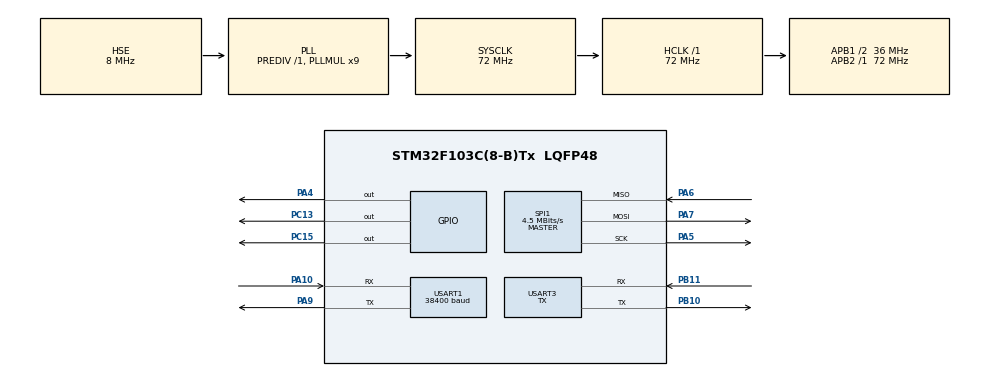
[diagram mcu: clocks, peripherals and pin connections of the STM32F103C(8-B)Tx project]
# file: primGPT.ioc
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FREERTOS.Tasks01=defaultTask,24,128,StartDefaultTask,Default,NULL,Dynamic,NULL,NULL
FREERTOS.configUSE_NEWLIB_REENTRANT=1
Mcu.Family=STM32F1
Mcu.Name=STM32F103C(8-B)Tx
Mcu.Package=LQFP48
NVIC.PriorityGroup=NVIC_PRIORITYGROUP_4
NVIC.TIM1_UP_IRQn=true\:15\:0\:false\:false\:true\:false\:false\:true\:true
NVIC.TimeBase=TIM1_UP_IRQn
NVIC.TimeBaseIP=TIM1
NVIC.USART3_IRQn=true\:5\:0\:false\:false\:true\:true\:true\:true\:true
PA10.Mode=Asynchronous
PA10.Signal=USART1_RX
PA13.Mode=Serial_Wire
PA13.Signal=SYS_JTMS-SWDIO
PA14.Mode=Serial_Wire
PA14.Signal=SYS_JTCK-SWCLK
PA4.Signal=GPIO_Output
PA5.Mode=Full_Duplex_Master
PA5.Signal=SPI1_SCK
PA6.Mode=Full_Duplex_Master
PA6.Signal=SPI1_MISO
PA7.Mode=Full_Duplex_Master
PA7.Signal=SPI1_MOSI
PA9.Mode=Asynchronous
PA9.Signal=USART1_TX
PB10.Mode=Asynchronous
PB10.Signal=USART3_TX
PB11.Mode=Asynchronous
PB11.Signal=USART3_RX
PC13-TAMPER-RTC.Signal=GPIO_Output
PC15-OSC32_OUT.Signal=GPIO_Output
PD0-OSC_IN.Mode=HSE-External-Oscillator
PD0-OSC_IN.Signal=RCC_OSC_IN
PD1-OSC_OUT.Mode=HSE-External-Oscillator
PD1-OSC_OUT.Signal=RCC_OSC_OUT
ProjectManager.HeapSize=0x200
ProjectManager.StackSize=0x400
ProjectManager.TargetToolchain=STM32CubeIDE
RCC.AHBFreq_Value=72000000
RCC.APB1CLKDivider=RCC_HCLK_DIV2
RCC.APB1Freq_Value=36000000
RCC.APB1TimFreq_Value=72000000
RCC.APB2Freq_Value=72000000
RCC.APB2TimFreq_Value=72000000
RCC.HCLKFreq_Value=72000000
RCC.PLLMUL=RCC_PLL_MUL9
RCC.PLLSourceVirtual=RCC_PLLSOURCE_HSE
RCC.SYSCLKFreq_VALUE=72000000
RCC.SYSCLKSource=RCC_SYSCLKSOURCE_PLLCLK
RCC.USBFreq_Value=72000000
SPI1.BaudRatePrescaler=SPI_BAUDRATEPRESCALER_16
SPI1.CalculateBaudRate=4.5 MBits/s
SPI1.Direction=SPI_DIRECTION_2LINES
SPI1.Mode=SPI_MODE_MASTER
SPI1.VirtualType=VM_MASTER
USART1.BaudRate=38400
USART1.VirtualMode=VM_ASYNC
USART3.Mode=MODE_TX
USART3.VirtualMode=VM_ASYNC
VP_FREERTOS_VS_CMSIS_V2.Mode=CMSIS_V2
VP_SYS_VS_tim1.Mode=TIM1
board=custom

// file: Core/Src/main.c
/* USER CODE BEGIN Header */
/**
  ******************************************************************************
  * @file           : main.c
  * @brief          : Main program body
  ******************************************************************************
  * @attention
  *
  * 16.02.25 by Kurein M.N.
  *
  * v.
  *
  ******************************************************************************
  */
/* USER CODE END Header */
#include "main.h"
#include "cmsis_os.h"

/* USER CODE BEGIN Includes */
#include "FreeRTOS.h"
#include "queue.h"
#include "task.h"
#include "stm32f1xx_hal.h"
#include "DataFile.h"
#include "uart.h"
#include "crc16.h"
#include "fram.h"

/* USER CODE END Includes */

/* USER CODE BEGIN PD */
volatile uint32_t last_rx_time;                   // Time of last received byte
extern volatile char uart1_rx_buf[UART_BUF_SIZE];
fram_t fram;
fram_cfg_t cfgFRAM;
QueueHandle_t uartQueue;

osThreadId_t LedTaskHandle, Uart1TaskHandle;

/* USER CODE END PD */

SPI_HandleTypeDef hspi1;

UART_HandleTypeDef huart1;
UART_HandleTypeDef huart3;

/* Definitions for defaultTask */
osThreadId_t defaultTaskHandle;

const osThreadAttr_t defaultTask_attributes = {
  .name = "defaultTask",
  .stack_size = 1024,
  .priority = (osPriority_t) osPriorityNormal,
};

/* USER CODE BEGIN PV */
const osThreadAttr_t LedTask_attributes = {
  .name = "LedTask",
  .stack_size = 512,
  .priority = (osPriority_t) osPriorityNormal,
};

const osThreadAttr_t Uart1Task_attributes = {
  .name = "Uart1Task",
  .stack_size = 2048,
  .priority = (osPriority_t) osPriorityAboveNormal,
};

/* USER CODE END PV */

void SystemClock_Config(void);
static void MX_GPIO_Init(void);
static void MX_USART1_UART_Init(void);
static void MX_USART3_UART_Init(void);
static void MX_SPI1_Init(void);
void StartDefaultTask(void *argument);

/* USER CODE BEGIN PFP */
void LedTask(void *argument);
void Uart1Task(void *argument);
/* USER CODE END PFP */

/* USER CODE BEGIN 0 */
void LedTask(void *pvParameters) {
	//int c = 'A'; // 0x41

    while (1) {
        HAL_GPIO_TogglePin(GPIOC, GPIO_PIN_13);
        //uart1_put_ch(c);
        vTaskDelay(pdMS_TO_TICKS(1000));
    }
}

void Uart1Task(void *pvParameters) {
    uint8_t command[UART_BUF_SIZE];
    uint8_t ok[2] = {ID_BU, 0x00};
    uint8_t ok_buf[4];
    uint8_t index = 0;
    uint16_t crc = 0;
    char receivedChar;
    char wr_data[7] = {'K', 'U', 'R', 'E', 'I', 'N'};
    char rd_data[7] = {0};
    uart1_put_ch('S');  // Сигнал о запуске задачи
    while (1) {
        HAL_GPIO_TogglePin(GPIOC, GPIO_PIN_15);

        // Waiting for a byte from the queue(очереди)
        if (xQueueReceive(uartQueue, &receivedChar, pdMS_TO_TICKS(2)) == pdPASS) {
            if (index < UART_BUF_SIZE) {
                command[index++] = receivedChar;
               // uart1_put_ch(receivedChar);
            }
        }

        uint32_t current_time = xTaskGetTickCount();
        uint32_t diff = current_time - last_rx_time;

        if (index > 0 && diff > pdMS_TO_TICKS(UART_TIMEOUT_MS)) {
          //  uart1_put_u32(diff);  //  для отладки таймаута
            crc = process_crc(command, index, true);
            // uart1_put_ch(crc);
            if (crc == 1) {
                switch (command[0]) {
                    case 0x70:
                        if (command[1] == 0) {
                            HAL_GPIO_WritePin(GPIOC, GPIO_PIN_13, GPIO_PIN_SET);
                        }
                        if (command[1] == 1) {
                            HAL_GPIO_WritePin(GPIOC, GPIO_PIN_13, GPIO_PIN_RESET);
                        }
                        break;

                    case 2:
                        if (command[1] == 0) {
                            fram_write(&fram, 0x0150, (uint8_t *)wr_data, sizeof(wr_data));
                            HAL_Delay(1000);
                            fram_read(&fram, 0x0150, (uint8_t *)rd_data, sizeof(wr_data));
                        }
                        break;
                }
            }
            calculate_crc_for_2_bytes(ok, ok_buf);
            for (int i = 0; i < 4; i++) {
                uart1_put_ch(ok_buf[i]);
            }

            //HAL_UART_Transmit(&huart1, ok_ptr, 4, 100); // 100 мс таймаут
            //uart1_put_ch(0xEE);  // Добавляем маркер конца посылки
            //uart1_put_ch(0xFF);

            while (uxQueueMessagesWaiting(uartQueue) > 0) {
                char discardChar;
                xQueueReceive(uartQueue, &discardChar, 0);
            }
            index = 0;
        }
        vTaskDelay(pdMS_TO_TICKS(3));  // Adding a delay
    }
}
/* USER CODE END 0 */

int main(void)
{
  /* USER CODE BEGIN 1 */
  last_rx_time = 0;

  uint32_t reset_cause = RCC->CSR;
  RCC->CSR |= RCC_CSR_RMVF;          // Сброс флагов сброса
  //__HAL_RCC_CLEAR_RESET_FLAGS();   // Очистить флаги сброса

  /* USER CODE END 1 */

  /* MCU Configuration--------------------------------------------------------*/

  /* Reset of all peripherals, Initializes the Flash interface and the Systick. */
  HAL_Init();

  /* Configure the system clock */
  SystemClock_Config();

  /* Initialize all configured peripherals */
  MX_GPIO_Init();
  MX_USART1_UART_Init();
  MX_USART3_UART_Init();
  MX_SPI1_Init();

  /* USER CODE BEGIN 2 */
  RCC->CSR |= RCC_CSR_RMVF;

  log_printf("Rst:0x%08lX\r\n", reset_cause);
  HAL_Delay(1000);
  log_printf("Main started, time: %lu ms\r\n", HAL_GetTick());

  fram_cfg_setup(&cfgFRAM);
  fram_init(&fram,&cfgFRAM);
  //log_printf("FRAM setup done\r\n");

  //fram_erase_all(&fram);
  //HAL_Delay(1000);
  //log_printf("---- Application Init ----\r\n");
  /* USER CODE END 2 */

  /* Init scheduler */
  osKernelInitialize();

  /* USER CODE BEGIN RTOS_QUEUES */
  /* add queues, ... */
  uartQueue = xQueueCreate(40, sizeof(char));  // Очередь на 40 элементов
  if (uartQueue == NULL) {
       Error_Handler();// Ошибка создания очереди
  }
  /* USER CODE END RTOS_QUEUES */

  /* Create the thread(s) */
  /* creation of defaultTask */
  defaultTaskHandle = osThreadNew(StartDefaultTask, NULL, &defaultTask_attributes);

  /* USER CODE BEGIN RTOS_THREADS */
  /* add threads, ... */
  LedTaskHandle = osThreadNew(LedTask, NULL, &LedTask_attributes);

  Uart1TaskHandle = osThreadNew(Uart1Task, NULL, &Uart1Task_attributes);
  if (Uart1TaskHandle == NULL) {
	uart1_put_ch('E');
    Error_Handler();
  }
  /* USER CODE END RTOS_THREADS */

  /* Start scheduler */
  osKernelStart();

  /* We should never get here as control is now taken by the scheduler */

  /* Infinite loop */
  while (1)
  {

  }
}

void SystemClock_Config(void)
{
  RCC_OscInitTypeDef RCC_OscInitStruct = {0};
  RCC_ClkInitTypeDef RCC_ClkInitStruct = {0};

  /** Initializes the RCC Oscillators according to the specified parameters
  * in the RCC_OscInitTypeDef structure.
  */
  RCC_OscInitStruct.OscillatorType = RCC_OSCILLATORTYPE_HSE;
  RCC_OscInitStruct.HSEState = RCC_HSE_ON;
  RCC_OscInitStruct.HSEPredivValue = RCC_HSE_PREDIV_DIV1;
  RCC_OscInitStruct.HSIState = RCC_HSI_ON;
  RCC_OscInitStruct.PLL.PLLState = RCC_PLL_ON;
  RCC_OscInitStruct.PLL.PLLSource = RCC_PLLSOURCE_HSE;
  RCC_OscInitStruct.PLL.PLLMUL = RCC_PLL_MUL9;
  if (HAL_RCC_OscConfig(&RCC_OscInitStruct) != HAL_OK)
  {
	printf("ERROR 1 DETECTED! MCU WILL RESET!\r\n");
	HAL_Delay(1000);
    Error_Handler();
  }

  /** Initializes the CPU, AHB and APB buses clocks
  */
  RCC_ClkInitStruct.ClockType = RCC_CLOCKTYPE_HCLK|RCC_CLOCKTYPE_SYSCLK
                              |RCC_CLOCKTYPE_PCLK1|RCC_CLOCKTYPE_PCLK2;
  RCC_ClkInitStruct.SYSCLKSource = RCC_SYSCLKSOURCE_PLLCLK;
  RCC_ClkInitStruct.AHBCLKDivider = RCC_SYSCLK_DIV1;
  RCC_ClkInitStruct.APB1CLKDivider = RCC_HCLK_DIV2;
  RCC_ClkInitStruct.APB2CLKDivider = RCC_HCLK_DIV1;

  if (HAL_RCC_ClockConfig(&RCC_ClkInitStruct, FLASH_LATENCY_2) != HAL_OK)
  {
	printf("ERROR 2 DETECTED! MCU WILL RESET!\r\n");
	HAL_Delay(1000);
    Error_Handler();
  }
}

static void MX_SPI1_Init(void)
{

  /* SPI1 parameter configuration*/
  hspi1.Instance = SPI1;
  hspi1.Init.Mode = SPI_MODE_MASTER;
  hspi1.Init.Direction = SPI_DIRECTION_2LINES;
  hspi1.Init.DataSize = SPI_DATASIZE_8BIT;
  hspi1.Init.CLKPolarity = SPI_POLARITY_LOW;
  hspi1.Init.CLKPhase = SPI_PHASE_1EDGE;
  hspi1.Init.NSS = SPI_NSS_SOFT;
  hspi1.Init.BaudRatePrescaler = SPI_BAUDRATEPRESCALER_16;
  hspi1.Init.FirstBit = SPI_FIRSTBIT_MSB;
  hspi1.Init.TIMode = SPI_TIMODE_DISABLE;
  hspi1.Init.CRCCalculation = SPI_CRCCALCULATION_DISABLE;
  hspi1.Init.CRCPolynomial = 10;
  if (HAL_SPI_Init(&hspi1) != HAL_OK)
  {
    printf("ERROR SPI DETECTED! MCU WILL RESET!\r\n");
	HAL_Delay(1000);
    Error_Handler();
  }

}

static void MX_USART1_UART_Init(void)
{

  huart1.Instance = USART1;
  huart1.Init.BaudRate = 38400;
  huart1.Init.WordLength = UART_WORDLENGTH_8B;
  huart1.Init.StopBits = UART_STOPBITS_1;
  huart1.Init.Parity = UART_PARITY_NONE;
  huart1.Init.Mode = UART_MODE_TX_RX;
  huart1.Init.HwFlowCtl = UART_HWCONTROL_NONE;
  huart1.Init.OverSampling = UART_OVERSAMPLING_16;
  if (HAL_UART_Init(&huart1) != HAL_OK)
  {
	printf("ERROR USART1 DETECTED! MCU WILL RESET!\r\n");
	HAL_Delay(1000);
    Error_Handler();
  }
  /* USER CODE BEGIN USART1_Init 2 */
  // запускает прерывание для приёма 1 байта
  HAL_UART_Receive_IT(&huart1, (uint8_t *)&uart1_rx_buf[0], 1);
  /* USER CODE END USART1_Init 2 */

}
static void MX_USART3_UART_Init(void)
{
  huart3.Instance = USART3;
  huart3.Init.BaudRate = 115200;
  huart3.Init.WordLength = UART_WORDLENGTH_8B;
  huart3.Init.StopBits = UART_STOPBITS_1;
  huart3.Init.Parity = UART_PARITY_NONE;
  huart3.Init.Mode = UART_MODE_TX_RX;
  huart3.Init.HwFlowCtl = UART_HWCONTROL_NONE;
  huart3.Init.OverSampling = UART_OVERSAMPLING_16;

  if (HAL_UART_Init(&huart3) != HAL_OK)
  {
    printf("ERROR USART3 DETECTED! MCU WILL RESET!\r\n");
    HAL_Delay(1000);
    Error_Handler();
  }
}
static void MX_GPIO_Init(void)
{
  GPIO_InitTypeDef GPIO_InitStruct = {0};

  /* GPIO Ports Clock Enable */
  __HAL_RCC_GPIOC_CLK_ENABLE();
  __HAL_RCC_GPIOD_CLK_ENABLE();
  __HAL_RCC_GPIOA_CLK_ENABLE();

  /*Configure GPIO pin Output Level */
  HAL_GPIO_WritePin(GPIOC, GPIO_PIN_13|GPIO_PIN_15, GPIO_PIN_RESET);

  /*Configure GPIO pin Output Level */
  HAL_GPIO_WritePin(GPIOA, GPIO_PIN_4, GPIO_PIN_RESET);

  /*Configure GPIO pins : PC13 PC15 */
  GPIO_InitStruct.Pin = GPIO_PIN_13|GPIO_PIN_15;
  GPIO_InitStruct.Mode = GPIO_MODE_OUTPUT_PP;
  GPIO_InitStruct.Pull = GPIO_NOPULL;
  GPIO_InitStruct.Speed = GPIO_SPEED_FREQ_LOW;
  HAL_GPIO_Init(GPIOC, &GPIO_InitStruct);

  /*Configure GPIO pin : PA4 */
  GPIO_InitStruct.Pin = GPIO_PIN_4;
  GPIO_InitStruct.Mode = GPIO_MODE_OUTPUT_PP;
  GPIO_InitStruct.Pull = GPIO_NOPULL;
  GPIO_InitStruct.Speed = GPIO_SPEED_FREQ_LOW;
  HAL_GPIO_Init(GPIOA, &GPIO_InitStruct);

}

/* USER CODE BEGIN 4 */
void vApplicationStackOverflowHook(TaskHandle_t xTask, char *pcTaskName)
{
  (void)xTask;
  log_printf("!!! Stack overflow: %s\r\n", pcTaskName);
  __disable_irq();
  while (1) {}
}

void vApplicationMallocFailedHook(void)
{
  log_printf("!!! Malloc failed\r\n");
  __disable_irq();
  while (1) {}
}
/* USER CODE END 4 */

void StartDefaultTask(void *argument)
{
  /* USER CODE BEGIN 5 */
  /* Infinite loop */
	printf_uart3("Default Task running...\r\n");
  uint32_t diag_divider = 0;
  for (;;) {
	vTaskDelay(pdMS_TO_TICKS(1000));
	printf_uart3("Tick:%lu\r\n", HAL_GetTick());

	/* Lightweight runtime diagnostics every 5 seconds. */
	if (++diag_divider >= 5) {
		diag_divider = 0;

		size_t free_heap = xPortGetFreeHeapSize();
		size_t min_heap = xPortGetMinimumEverFreeHeapSize();
		size_t total_heap = (size_t)configTOTAL_HEAP_SIZE;
		UBaseType_t dflt_stack = uxTaskGetStackHighWaterMark((TaskHandle_t)defaultTaskHandle);
		UBaseType_t led_stack  = uxTaskGetStackHighWaterMark((TaskHandle_t)LedTaskHandle);
		UBaseType_t uart_stack = uxTaskGetStackHighWaterMark((TaskHandle_t)Uart1TaskHandle);
		size_t dflt_stack_b = ((size_t)dflt_stack) * sizeof(StackType_t);
		size_t led_stack_b  = ((size_t)led_stack) * sizeof(StackType_t);
		size_t uart_stack_b = ((size_t)uart_stack) * sizeof(StackType_t);
		size_t dflt_total_b = (size_t)defaultTask_attributes.stack_size;
		size_t led_total_b  = (size_t)LedTask_attributes.stack_size;
		size_t uart_total_b = (size_t)Uart1Task_attributes.stack_size;
		unsigned int heap_used_pct = (total_heap > 0U) ? (unsigned int)(((total_heap - free_heap) * 100U) / total_heap) : 0U;
		unsigned int heap_peak_used_pct = (total_heap > 0U) ? (unsigned int)(((total_heap - min_heap) * 100U) / total_heap) : 0U;
		unsigned int dflt_used_pct = (dflt_total_b > 0U) ? (unsigned int)(((dflt_total_b - dflt_stack_b) * 100U) / dflt_total_b) : 0U;
		unsigned int led_used_pct  = (led_total_b > 0U) ? (unsigned int)(((led_total_b - led_stack_b) * 100U) / led_total_b) : 0U;
		unsigned int uart_used_pct = (uart_total_b > 0U) ? (unsigned int)(((uart_total_b - uart_stack_b) * 100U) / uart_total_b) : 0U;

		printf_uart3("HeapB F:%u Min:%u Tot:%u\r\n", (unsigned int)free_heap, (unsigned int)min_heap, (unsigned int)total_heap);
		printf_uart3("HeapU now:%u%% peak:%u%%\r\n", heap_used_pct, heap_peak_used_pct);
		printf_uart3("StkB free D:%u L:%u U:%u\r\n", (unsigned int)dflt_stack_b, (unsigned int)led_stack_b, (unsigned int)uart_stack_b);
		printf_uart3("StkU %% D:%u L:%u U:%u\r\n", dflt_used_pct, led_used_pct, uart_used_pct);
	}
  }
  /*for(;;)
  {
    osDelay(1000);
  }*/
  /* USER CODE END 5 */
}

void HAL_TIM_PeriodElapsedCallback(TIM_HandleTypeDef *htim)
{
  if (htim->Instance == TIM1) {
    HAL_IncTick();
  }
}

void Error_Handler(void)
{
  /* USER CODE BEGIN Error_Handler_Debug */
  /* User can add his own implementation to report the HAL error return state */
  __disable_irq();

  printf("ERROR DETECTED! \r\n");
  HAL_Delay(1000);

  while (1)
  {
  }
  /* USER CODE END Error_Handler_Debug */
}
